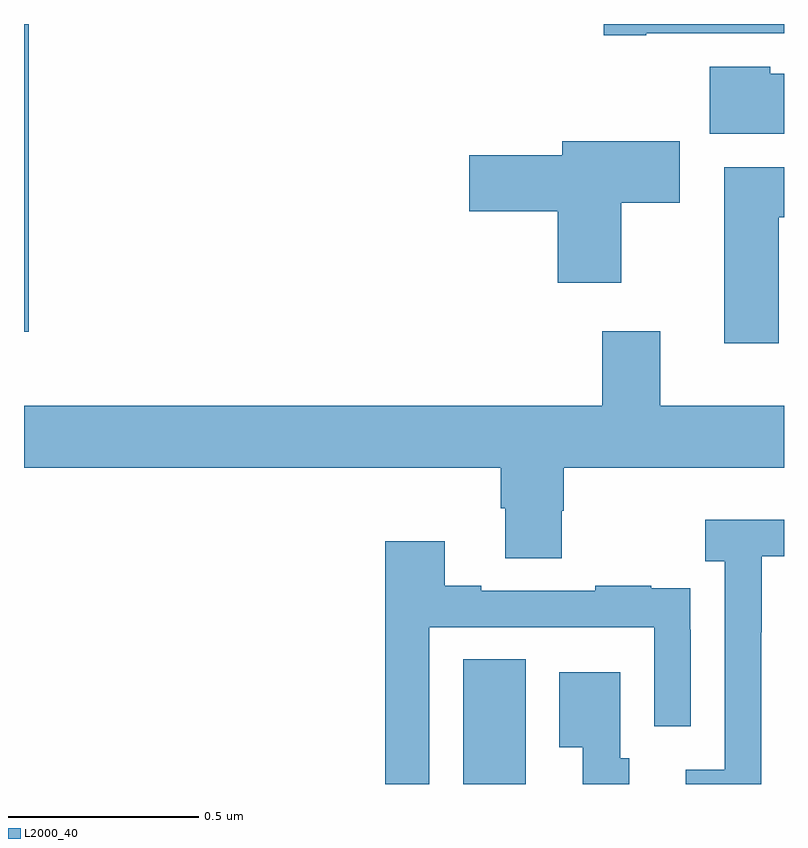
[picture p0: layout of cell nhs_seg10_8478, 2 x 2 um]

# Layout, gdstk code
import gdstk
lib = gdstk.Library(unit=1e-6, precision=1e-09)
def R(c, l, rs):  # rectangles x0, y0, x1, y1
    for r in rs: c.add(gdstk.rectangle(r[:2], r[2:], *l))
def P(c, l, *ps):  # polygons
    for p in ps: c.add(gdstk.Polygon(p, *l))
L2000_40 = (2000, 40)

nhs_seg10_8478 = lib.new_cell('nhs_seg10_8478')
R(nhs_seg10_8478, L2000_40, [(218.156,1283.5,218.32,1283.828), (217,1284.69,217.013,1285.5)])
P(nhs_seg10_8478, L2000_40, [(218.638,1285.476),(219,1285.476),(219,1285.5),(218.526,1285.5),(218.526,1285.471),(218.638,1285.471)],
  [(219,1285.369),(218.964,1285.369),(218.964,1285.387),(218.804,1285.387),(218.804,1285.211),(219,1285.211)],
  [(218.572,1285.03),(218.725,1285.03),(218.725,1285.192),(218.417,1285.192),(218.417,1285.154),(218.172,1285.154),(218.172,1285.007),(218.405,1285.007),(218.405,1284.819),(218.572,1284.819)],
  [(218.986,1284.992),(219,1284.992),(219,1285.123),(218.843,1285.123),(218.843,1284.66),(218.986,1284.66)],
  [(218.415,1284.219),(218.42,1284.219),(218.42,1284.332),(219,1284.332),(219,1284.496),(218.674,1284.496),(218.674,1284.691),(218.522,1284.691),(218.522,1284.496),(217,1284.496),(217,1284.332),(218.255,1284.332),(218.255,1284.226),(218.267,1284.226),(218.267,1284.094),(218.415,1284.094)],
  [(218.94,1283.899),(218.941,1283.899),(218.941,1284.099),(219,1284.099),(219,1284.196),(218.793,1284.196),(218.793,1284.086),(218.844,1284.086),(218.844,1283.538),(218.742,1283.538),(218.742,1283.5),(218.94,1283.5)],
  [(218.067,1283.913),(218.658,1283.913),(218.658,1283.652),(218.754,1283.652),(218.754,1283.906),(218.753,1283.906),(218.753,1284.015),(218.651,1284.015),(218.651,1284.022),(218.503,1284.022),(218.503,1284.009),(218.203,1284.009),(218.203,1284.022),(218.107,1284.022),(218.107,1284.139),(217.951,1284.139),(217.951,1283.5),(218.067,1283.5)],
  [(218.593,1283.568),(218.569,1283.568),(218.569,1283.794),(218.408,1283.794),(218.408,1283.597),(218.471,1283.597),(218.471,1283.5),(218.593,1283.5)])

lib.write_gds('nhs_seg10_8478.gds')
